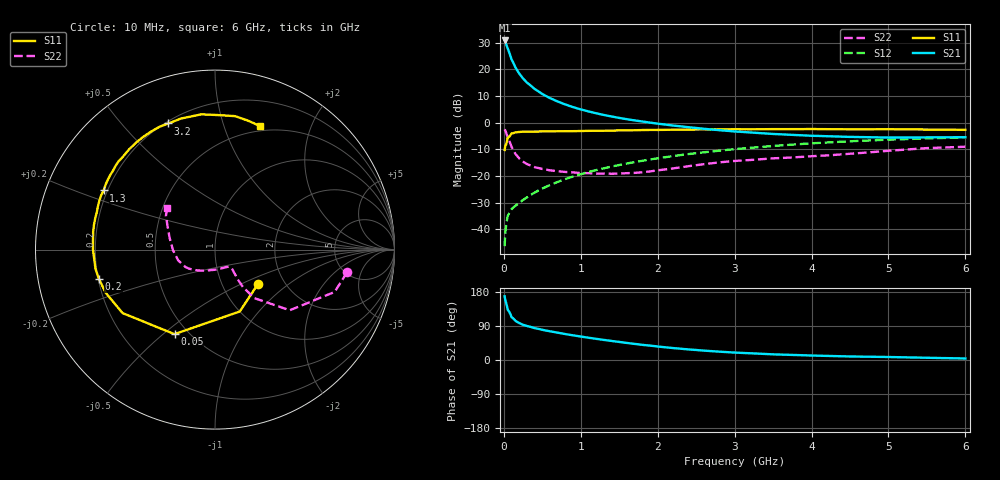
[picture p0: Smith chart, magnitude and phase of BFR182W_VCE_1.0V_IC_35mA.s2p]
! Infineon Technologies  Discrete & RF Semiconductors
! BFR182W
! VCE =  1.0 V,  IC =  35 mA
! Common Emitter S-Parameters:  Jan 2017
# GHz  S  MA  R  50
!  f  S11  S21  S12  S22
! GHz  MAG  ANG  MAG  ANG  MAG  ANG  MAG  ANG
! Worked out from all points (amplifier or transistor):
!   77 points, 10 MHz to 6 GHz, reference 50 ohm
!   highest |S21| = 30.8 dB at 10 MHz (marker M1)
!   |S21| within 3 dB of that: start of sweep to 50.29 MHz
!   unconditionally stable (mu >= 1): start of sweep to 12.98 MHz; 193.1 MHz to end of sweep
!   at 130 MHz: K = 0.80, MSG = 26.9 dB, |S12| = -31.7 dB
!   at 2.2 GHz: K = 1.18, MAG = 3.2 dB, |S12| = -12.6 dB
!   at 6 GHz: K = 1.12, MAG = -2.1 dB, |S12| = -5.6 dB
!   S11 on the Smith chart (normalised r, x): 10 MHz: 1.47, -0.62; 50 MHz: 0.42, -0.55; 200 MHz: 0.20, -0.12; 1.3 GHz: 0.19, +0.24; 3.2 GHz: 0.21, +0.67; 6 GHz: 0.45, +1.33
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0.01  0.3066 -38.7  34.76 168.1  0.0048 73.9  0.7465 -9.8
0.02  0.3714 -68.2  33.14 157.3  0.0088 66.4  0.707 -19.5
0.05  0.5222 -115.6  24.67 132.9  0.0176 54.1  0.5367 -39.0
0.1  0.6248 -145.5  15.4 113.0  0.0237 48.1  0.3488 -50.9
0.15  0.6545 -158.4  10.87 103.5  0.0275 49.7  0.2591 -53.3
0.2  0.6669 -165.7  8.313 97.5  0.0309 52.5  0.2129 -52.7
0.25  0.6743 -170.8  6.727 92.9  0.0354 55.7  0.1846 -51.4
0.3  0.6745 -174.5  5.629 89.7  0.0395 58.3  0.1669 -50.3
0.4  0.6799 179.9  4.271 84.1  0.0486 62.4  0.1461 -48.8
0.5  0.6815 175.6  3.433 79.7  0.0579 64.8  0.1348 -48.9
0.6  0.686 171.8  2.882 75.7  0.0675 66.4  0.1271 -49.9
0.7  0.6881 168.7  2.484 72.1  0.0769 67.8  0.1224 -51.3
0.9  0.6907 162.4  1.949 65.1  0.0973 68.7  0.1162 -57.4
1.1  0.6999 157.0  1.621 58.8  0.1186 68.6  0.1125 -65.0
1.3  0.7024 152.0  1.389 53.0  0.1387 67.9  0.1106 -74.0
1.7  0.7184 142.3  1.099 42.5  0.1814 65.1  0.1139 -96.1
2.1  0.7312 133.0  0.917 33.6  0.2243 61.5  0.1322 -117.4
3.1  0.7498 112.4  0.668 18.7  0.3263 50.1  0.1944 -152.6
3.2  0.7496 110.4  0.653 17.8  0.3356 48.8  0.1985 -155.6
4.1  0.7548 94.3  0.561 11.3  0.4157 37.7  0.2378 177.7
5.1  0.7491 80.2  0.525 7.5  0.4834 25.7  0.3027 151.7
6  0.7323 70.1  0.532 4.0  0.5275 15.8  0.3526 139.1
